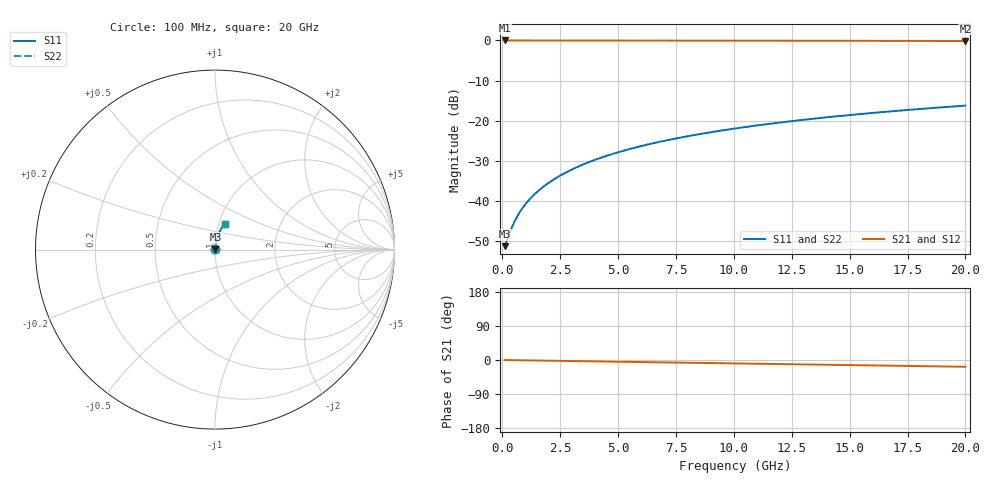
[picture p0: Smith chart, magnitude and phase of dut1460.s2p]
! Touchstone file exported from HFSS 2026.1.0
!  File:  C:/ffzhzh/LocalFiles/Ansys_Project_Files/temp_train_TMRDL_1460_1783167339_18472.aedt
!  Generated:  08:16:50 PM Jul  4, 2026
!  Design:  TMRDL
!  Project:  temp_train_TMRDL_1460_1783167339_18472
! Variables:
!  h_bsmrdl = 2um
!  h_ox = 20um
!  h_rdl = 5um
!  h_sub = 80um
!  h_tmrdl = 2.01um
!  h_tsv = 80um
!  h_via = 3um
!  l_bsmrdl = 300um
!  l_sub = 650.12um
!  l_tmrdl = 250.12um
!  m_sub = 200um
!  pitch = 34.59um
!  r_tsv = 6um
!  s_tmrdl = 10um
!  w_bsmrdl = 18um
!  w_sub = 500um
!  w_tmrdl = 20.15um
!  x_tsv_center1 = 260.195um
!  x_tsv_center2 = 578.195um
!  x_tsv_center3 = 848.465um
!  x_tsv_center4 = 1166.465um
!  x_tsv_center5 = 1436.735um
!  x_tsv_center6 = 1754.735um
# GHz S MA R 50.000000
! Terminal data exported
! Port[1] = TM_RDL1_1_T1
! Port[2] = TM_RDL1_1_T2
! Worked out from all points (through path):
!   200 points, 100 MHz to 20 GHz, reference 50 ohm
!   highest |S21| = -0.02 dB at 100 MHz (marker M1); lowest = -0.2 dB at 20 GHz (marker M2)
!   group delay of S21, straight-line fit = 2.48 ps
!   lowest |S11| = -51.2 dB at 100 MHz (marker M3), VSWR 1.01, Z = 50.3 + j0.0937 ohm
!   |S11| at or under -10 dB: start of sweep to end of sweep
!   |S22| runs from -51.2 to -16.2 dB; largest |S21 - S12| = 2.1e-15
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0.1  0.002743 19.9  0.9974 -0.1  0.9974 -0.1  0.002743 19.9
! Gamma 0 0 0 0
! Port Impedance 50 0 50 0
0.2  0.003218 35.1  0.9974 -0.2  0.9974 -0.2  0.003218 35.1
0.4  0.004583 52.3  0.9972 -0.4  0.9972 -0.4  0.004582 52.3
0.6  0.0061 60.5  0.997 -0.6  0.997 -0.6  0.0061 60.5
0.7  0.006865 63.2  0.997 -0.7  0.997 -0.7  0.006864 63.2
0.9  0.00839 67.0  0.9968 -0.8  0.9968 -0.8  0.00839 67.0
1.1  0.009912 69.7  0.9967 -1.0  0.9967 -1.0  0.009912 69.7
1.3  0.01144 71.8  0.9966 -1.2  0.9966 -1.2  0.01144 71.8
1.7  0.01451 74.6  0.9964 -1.6  0.9964 -1.6  0.01451 74.6
2.2  0.01839 76.8  0.9963 -2.0  0.9963 -2.0  0.01839 76.8
2.8  0.02308 78.4  0.9961 -2.6  0.9961 -2.6  0.02308 78.4
3.5  0.0286 79.3  0.9959 -3.2  0.9959 -3.2  0.0286 79.3
4.2  0.03413 79.8  0.9956 -3.8  0.9956 -3.8  0.03413 79.8
5  0.04045 79.9  0.9953 -4.6  0.9953 -4.6  0.04045 79.9
5.9  0.04755 79.8  0.9948 -5.4  0.9948 -5.4  0.04755 79.8
6.8  0.05464 79.4  0.9943 -6.2  0.9943 -6.2  0.05464 79.5
8.3  0.06639 78.7  0.9934 -7.5  0.9934 -7.5  0.06639 78.7
10.1  0.08038 77.5  0.9921 -9.1  0.9921 -9.1  0.08037 77.5
11.7  0.09268 76.3  0.9907 -10.6  0.9907 -10.6  0.09268 76.3
13.4  0.1056 75.0  0.9891 -12.1  0.9891 -12.1  0.1056 75.0
16.7  0.1302 72.4  0.9855 -15.0  0.9855 -15.0  0.1302 72.4
20  0.1541 69.6  0.9814 -17.9  0.9814 -17.9  0.1541 69.7
